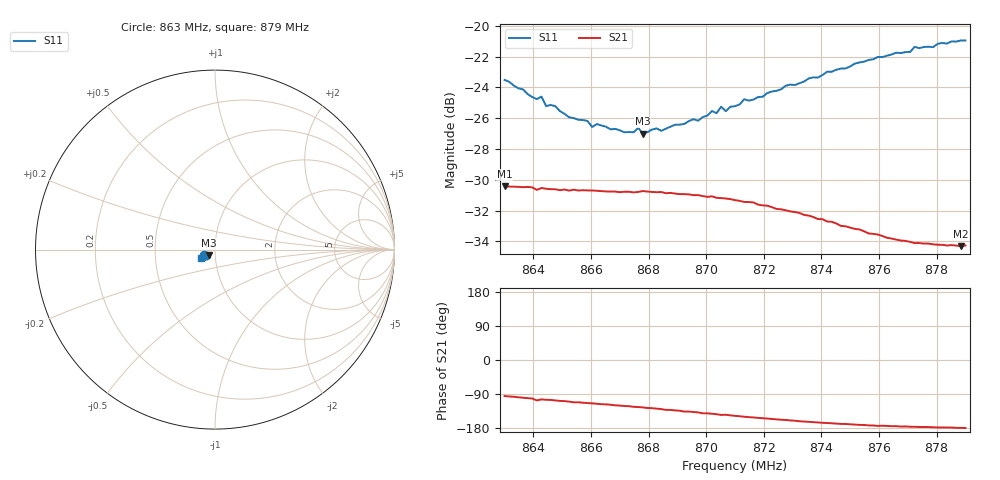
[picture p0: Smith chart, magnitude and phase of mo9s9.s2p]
# HZ S RI R 50
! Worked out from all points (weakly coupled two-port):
!   101 points, 863 MHz to 879 MHz, reference 50 ohm
!   highest |S21| = -30.43 dB at 863 MHz (marker M1); lowest = -34.3 dB at 878.84 MHz (marker M2)
!   lowest |S11| = -27.0 dB at 867.8 MHz (marker M3), VSWR 1.09, Z = 46.8 - j2.91 ohm
!   |S11| at or under -10 dB: start of sweep to end of sweep
!   S12 and S22 are empty: the file has one direction only
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8.63e8  -0.0601 -0.0291  -0.00271 -0.03  0 0  0 0
8.6412e8  -0.0515 -0.0264  -0.00842 -0.0281  0 0  0 0
8.6428e8  -0.052 -0.0278  -0.00715 -0.0289  0 0  0 0
8.6444e8  -0.0487 -0.0254  -0.00765 -0.0286  0 0  0 0
8.6572e8  -0.0412 -0.0273  -0.0113 -0.027  0 0  0 0
8.6604e8  -0.0389 -0.0262  -0.0121 -0.0266  0 0  0 0
8.662e8  -0.0395 -0.0273  -0.0126 -0.0263  0 0  0 0
8.6716e8  -0.0345 -0.0291  -0.0151 -0.0247  0 0  0 0
8.6764e8  -0.0342 -0.0318  -0.0162 -0.0239  0 0  0 0
8.678e8  -0.0321 -0.031  -0.0167 -0.0238  0 0  0 0
8.6844e8  -0.0304 -0.034  -0.0184 -0.0223  0 0  0 0
8.6972e8  -0.0292 -0.0396  -0.021 -0.0188  0 0  0 0
8.702e8  -0.0307 -0.0431  -0.022 -0.0173  0 0  0 0
8.7036e8  -0.0298 -0.0427  -0.0221 -0.0166  0 0  0 0
8.7052e8  -0.0319 -0.0443  -0.0226 -0.0158  0 0  0 0
8.7068e8  -0.0301 -0.0435  -0.0224 -0.016  0 0  0 0
8.71e8  -0.0318 -0.0447  -0.0229 -0.0146  0 0  0 0
8.7132e8  -0.0331 -0.0474  -0.0231 -0.0135  0 0  0 0
8.7372e8  -0.041 -0.0543  -0.023 -0.00659  0 0  0 0
8.7644e8  -0.0598 -0.0544  -0.0203 -0.00186  0 0  0 0
8.7884e8  -0.0774 -0.0453  -0.0192 -0.000308  0 0  0 0
8.79e8  -0.0779 -0.0445  -0.0193 -0.000229  0 0  0 0
